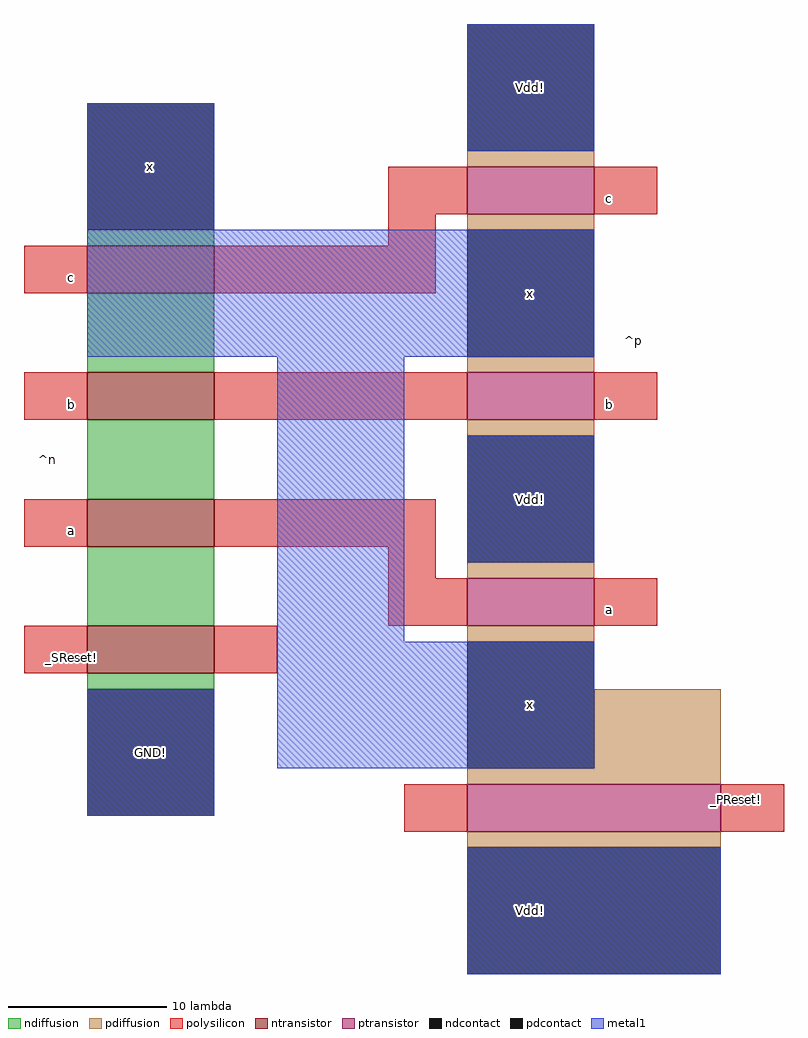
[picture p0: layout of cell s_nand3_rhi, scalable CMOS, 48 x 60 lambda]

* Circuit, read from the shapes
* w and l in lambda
.subckt s_nand3_rhi GND! Vdd! _PReset! _SReset! a b c x
M1 n1 _SReset! GND! VSUBS nfet w=8 l=3
M2 n2 a n1 VSUBS nfet w=8 l=3
M3 n3 b n2 VSUBS nfet w=8 l=3
M4 x c n3 VSUBS nfet w=8 l=3
M5 x _PReset! Vdd! NWELL pfet w=16 l=3
M6 Vdd! a x NWELL pfet w=8 l=3
M7 x b Vdd! NWELL pfet w=8 l=3
M8 Vdd! c x NWELL pfet w=8 l=3
.ends

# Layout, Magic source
magic
tech scmos
<< ndiffusion >>
rect -1 45 7 46
rect -1 37 7 42
rect -1 29 7 34
rect -1 21 7 26
rect -1 17 7 18
<< pdiffusion >>
rect 23 50 31 51
rect 23 46 31 47
rect 23 37 31 38
rect 23 33 31 34
rect 23 24 31 25
rect 23 20 31 21
rect 31 12 39 17
rect 23 11 39 12
rect 23 7 39 8
<< ntransistor >>
rect -1 42 7 45
rect -1 34 7 37
rect -1 26 7 29
rect -1 18 7 21
<< ptransistor >>
rect 23 47 31 50
rect 23 34 31 37
rect 23 21 31 24
rect 23 8 39 11
<< polysilicon >>
rect 18 47 23 50
rect 31 47 35 50
rect 18 45 21 47
rect -5 42 -1 45
rect 7 42 21 45
rect -5 34 -1 37
rect 7 34 23 37
rect 31 34 35 37
rect -5 26 -1 29
rect 7 26 21 29
rect 18 24 21 26
rect 18 21 23 24
rect 31 21 35 24
rect -5 18 -1 21
rect 7 18 11 21
rect 19 8 23 11
rect 39 8 43 11
<< ndcontact >>
rect -1 46 7 54
rect -1 9 7 17
<< pdcontact >>
rect 23 51 31 59
rect 23 38 31 46
rect 23 25 31 33
rect 23 12 31 20
rect 23 -1 39 7
<< metal1 >>
rect -1 46 7 54
rect 23 51 31 59
rect -1 38 31 46
rect 11 20 19 38
rect 23 25 31 33
rect -1 9 7 17
rect 11 12 31 20
rect 23 -1 39 7
<< labels >>
rlabel metal1 27 16 27 16 1 x
rlabel metal1 27 55 27 55 5 Vdd!
rlabel metal1 27 29 27 29 1 Vdd!
rlabel metal1 27 42 27 42 5 x
rlabel metal1 3 13 3 13 1 GND!
rlabel metal1 3 50 3 50 1 x
rlabel polysilicon -2 43 -2 43 3 c
rlabel polysilicon -2 35 -2 35 3 b
rlabel polysilicon -2 27 -2 27 3 a
rlabel polysilicon -2 19 -2 19 3 _SReset!
rlabel polysilicon 32 48 32 48 1 c
rlabel polysilicon 32 22 32 22 1 a
rlabel polysilicon 32 35 32 35 1 b
rlabel metal1 27 3 27 3 1 Vdd!
rlabel space -6 9 -1 54 7 ^n
rlabel polysilicon 40 10 40 10 5 _PReset!
rlabel space 31 19 36 59 3 ^p
<< end >>
